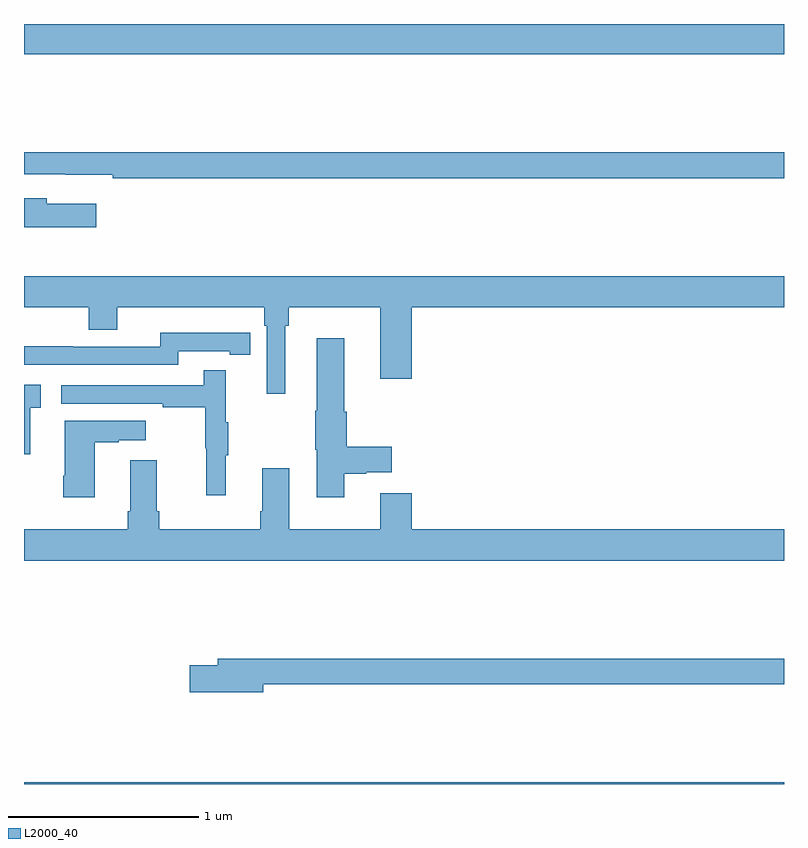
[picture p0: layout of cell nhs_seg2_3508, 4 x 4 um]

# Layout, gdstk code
import gdstk
lib = gdstk.Library(unit=1e-6, precision=1e-09)
def R(c, l, rs):  # rectangles x0, y0, x1, y1
    for r in rs: c.add(gdstk.rectangle(r[:2], r[2:], *l))
def P(c, l, *ps):  # polygons
    for p in ps: c.add(gdstk.Polygon(p, *l))
L2000_40 = (2000, 40)

nhs_seg2_3508 = lib.new_cell('nhs_seg2_3508')
R(nhs_seg2_3508, L2000_40, [(295,639.8,299,639.808), (295,643.64,299,643.8)])
P(nhs_seg2_3508, L2000_40, [(299,643.124),(295,643.124),(295,643.008),(295.216,643.008),(295.216,643.007),(295.468,643.007),(295.468,642.988),(299,642.988)],
  [(295.381,642.853),(295.12,642.853),(295.12,642.882),(295,642.882),(295,642.731),(295.381,642.731)],
  [(296.374,642.212),(296.393,642.212),(296.393,642.308),(296.876,642.308),(296.876,641.934),(297.04,641.934),(297.04,642.308),(299,642.308),(299,642.472),(295,642.472),(295,642.308),(295.34,642.308),(295.34,642.191),(295.492,642.191),(295.492,642.308),(296.264,642.308),(296.264,642.212),(296.277,642.212),(296.277,641.853),(296.374,641.853)],
  [(295.812,642.078),(296.084,642.078),(296.084,642.058),(296.192,642.058),(296.192,642.174),(296.084,642.174),(296.084,642.175),(295.716,642.175),(295.716,642.102),(295.256,642.102),(295.256,642.104),(295,642.104),(295,642.006),(295.812,642.006)],
  [(296.686,641.434),(296.802,641.434),(296.802,641.441),(296.935,641.441),(296.935,641.576),(296.699,641.576),(296.699,641.759),(296.686,641.759),(296.686,642.145),(296.54,642.145),(296.54,641.765),(296.533,641.765),(296.533,641.559),(296.54,641.559),(296.54,641.31),(296.686,641.31)],
  [(296.063,641.531),(296.074,641.531),(296.074,641.705),(296.063,641.705),(296.063,641.977),(295.945,641.977),(295.945,641.898),(295.197,641.898),(295.197,641.802),(295.729,641.802),(295.729,641.782),(295.953,641.782),(295.953,641.568),(295.96,641.568),(295.96,641.319),(296.063,641.319)],
  [(295.034,641.781),(295.087,641.781),(295.087,641.902),(295,641.902),(295,641.535),(295.034,641.535)],
  [(295.372,641.599),(295.499,641.599),(295.499,641.609),(295.642,641.609),(295.642,641.713),(295.214,641.713),(295.214,641.422),(295.207,641.422),(295.207,641.31),(295.372,641.31)],
  [(299,641.14),(297.04,641.14),(297.04,641.329),(296.876,641.329),(296.876,641.14),(296.395,641.14),(296.395,641.461),(296.255,641.461),(296.255,641.236),(296.243,641.236),(296.243,641.14),(295.712,641.14),(295.712,641.236),(295.699,641.236),(295.699,641.503),(295.559,641.503),(295.559,641.236),(295.547,641.236),(295.547,641.14),(295,641.14),(295,640.976),(299,640.976)],
  [(296.26,640.324),(299,640.324),(299,640.46),(296.021,640.46),(296.021,640.424),(295.872,640.424),(295.872,640.282),(296.26,640.282)])

lib.write_gds('nhs_seg2_3508.gds')
